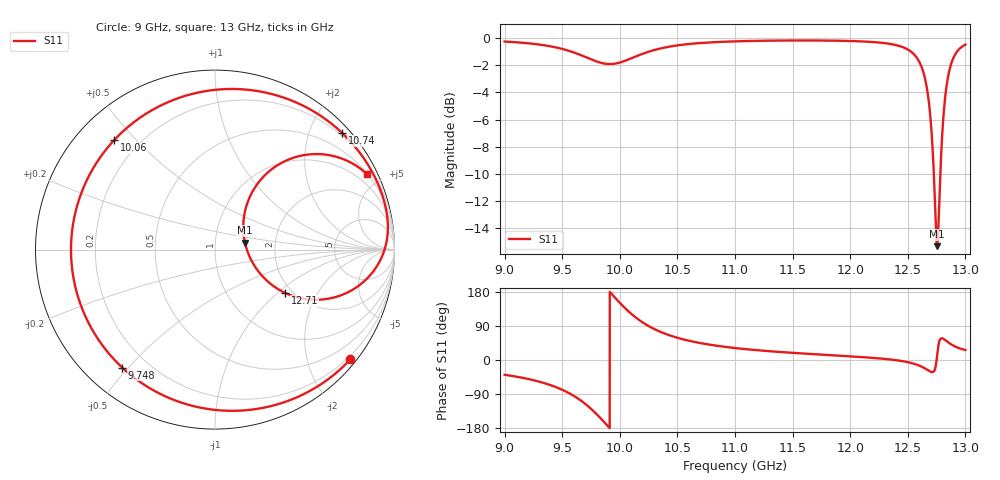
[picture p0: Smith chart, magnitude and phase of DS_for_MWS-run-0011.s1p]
! TOUCHSTONE file generated by CST DESIGN STUDIO
! Date and time: Tue Feb  4 17:24:20 2025
! Project name: C:\Work\MatlabApps\UnitCellOptimizationMatlab\CST\unitcell.cst
! Tree item: Tasks\Sweep1\SPara1\S-Parameters
! Header version: 2024
! Port assignment regex: !\s*Touchstone port\s*([0-9]+)\s*=\s*(CST MWS port|CST DES external port|CST DES block port)\s*(.+)\s* \(\"(.*)\"\)(\s*mode\s*([0-9]+))?.*
! Touchstone port assignment:
! Touchstone port 1 = CST DES external port 1 ("")
# GHz S MA R 50
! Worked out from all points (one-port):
!   4001 points, 9 GHz to 13 GHz, reference 50 ohm
!   lowest |S11| = -15.3 dB at 12.76 GHz (marker M1), VSWR 1.41, Z = 69.8 + j5.65 ohm
!   |S11| at or under -10 dB: 12.72614 GHz to 12.78228 GHz (56.13 MHz wide, 0.44 % of centre)
!   S11 on the Smith chart (normalised r, x): 9 GHz: 0.13, -2.82; 9.748 GHz: 0.11, -0.48; 10.06 GHz: 0.11, +0.43; 10.74 GHz: 0.15, +2.55; 12.71 GHz: 1.84, -1.12; 13 GHz: 0.53, +4.21
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9  0.9709 -39.0
9.281  0.949 -55.6
9.5  0.9123 -78.6
9.637  0.874 -101.7
9.748  0.8361 -128.2
9.881  0.804 -169.4
9.939  0.8033 170.9
10  0.8127 150.8
10.06  0.8293 132.6
10.141  0.8565 111.6
10.231  0.8853 93.0
10.36  0.9172 73.4
10.5  0.9399 58.7
10.736  0.9612 42.6
11  0.9726 31.6
11.5  0.9799 18.9
12  0.9756 9.7
12.5  0.9077 -5.7
12.619  0.784 -17.4
12.669  0.6419 -25.8
12.705  0.4595 -31.7
12.741  0.2169 -18.0
12.755  0.1714 13.3
12.769  0.2214 44.3
12.802  0.4644 56.8
12.841  0.6862 48.8
12.912  0.8718 35.5
13  0.9461 26.3
